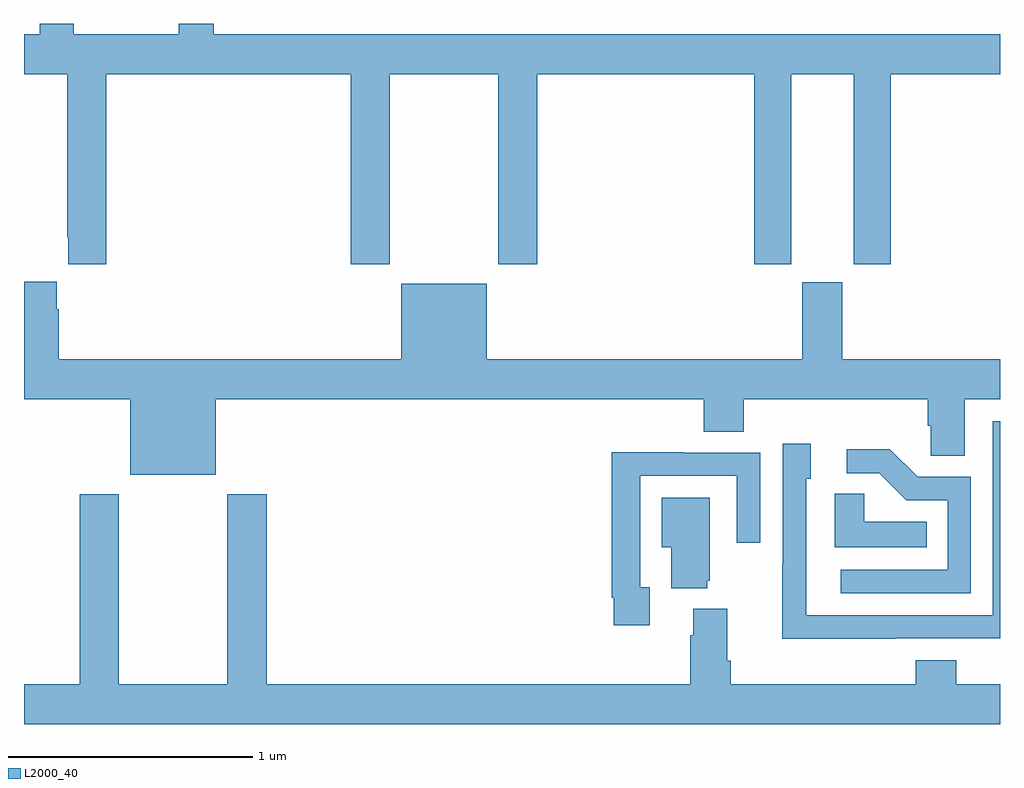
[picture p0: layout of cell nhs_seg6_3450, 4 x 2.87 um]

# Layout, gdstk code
import gdstk
lib = gdstk.Library(unit=1e-6, precision=1e-09)
def P(c, l, *ps):  # polygons
    for p in ps: c.add(gdstk.Polygon(p, *l))
L2000_40 = (2000, 40)

nhs_seg6_3450 = lib.new_cell('nhs_seg6_3450')
P(nhs_seg6_3450, L2000_40, [(313.337,991.292),(314.339,991.292),(314.339,990.513),(314.499,990.513),(314.499,991.292),(314.944,991.292),(314.944,990.513),(315.104,990.513),(315.104,991.292),(315.992,991.292),(315.992,990.513),(316.144,990.513),(316.144,991.292),(316.4,991.292),(316.4,990.513),(316.553,990.513),(316.553,991.292),(317,991.292),(317,991.456),(313.778,991.456),(313.778,991.5),(313.634,991.5),(313.634,991.456),(313.204,991.456),(313.204,991.5),(313.064,991.5),(313.064,991.456),(313,991.456),(313,991.292),(313.177,991.292),(313.177,990.625),(313.181,990.625),(313.181,990.513),(313.337,990.513)],
  [(314.896,990.433),(314.546,990.433),(314.546,990.124),(313.142,990.124),(313.142,990.329),(313.135,990.329),(313.135,990.442),(313,990.442),(313,989.96),(313.436,989.96),(313.436,989.651),(313.786,989.651),(313.786,989.96),(315.785,989.96),(315.785,989.827),(315.95,989.827),(315.95,989.96),(316.703,989.96),(316.703,989.851),(316.716,989.851),(316.716,989.728),(316.855,989.728),(316.855,989.96),(317,989.96),(317,990.124),(316.354,990.124),(316.354,990.441),(316.19,990.441),(316.19,990.124),(314.896,990.124)],
  [(316.571,988.98),(317,988.98),(317,989.871),(316.971,989.871),(316.971,989.076),(316.206,989.076),(316.206,989.634),(316.225,989.634),(316.225,989.779),(316.11,989.779),(316.11,989.285),(316.108,989.285),(316.108,988.979),(316.571,988.979)],
  [(316.881,989.643),(316.662,989.643),(316.549,989.756),(316.371,989.756),(316.371,989.658),(316.505,989.658),(316.616,989.547),(316.785,989.547),(316.785,989.262),(316.347,989.262),(316.347,989.166),(316.881,989.166)],
  [(315.565,989.19),(315.525,989.19),(315.525,989.646),(315.921,989.646),(315.921,989.373),(316.017,989.373),(316.017,989.742),(315.701,989.742),(315.701,989.744),(315.409,989.744),(315.409,989.146),(315.417,989.146),(315.417,989.034),(315.565,989.034)],
  [(316.7,989.458),(316.443,989.458),(316.443,989.573),(316.322,989.573),(316.322,989.354),(316.7,989.354)],
  [(317,988.792),(316.82,988.792),(316.82,988.891),(316.655,988.891),(316.655,988.792),(315.896,988.792),(315.896,988.888),(315.883,988.888),(315.883,989.101),(315.743,989.101),(315.743,988.994),(315.731,988.994),(315.731,988.792),(313.994,988.792),(313.994,989.572),(313.834,989.572),(313.834,988.792),(313.389,988.792),(313.389,989.572),(313.229,989.572),(313.229,988.792),(313,988.792),(313,988.628),(317,988.628)],
  [(315.8,989.217),(315.811,989.217),(315.811,989.557),(315.614,989.557),(315.614,989.354),(315.653,989.354),(315.653,989.186),(315.8,989.186)])

lib.write_gds('nhs_seg6_3450.gds')
